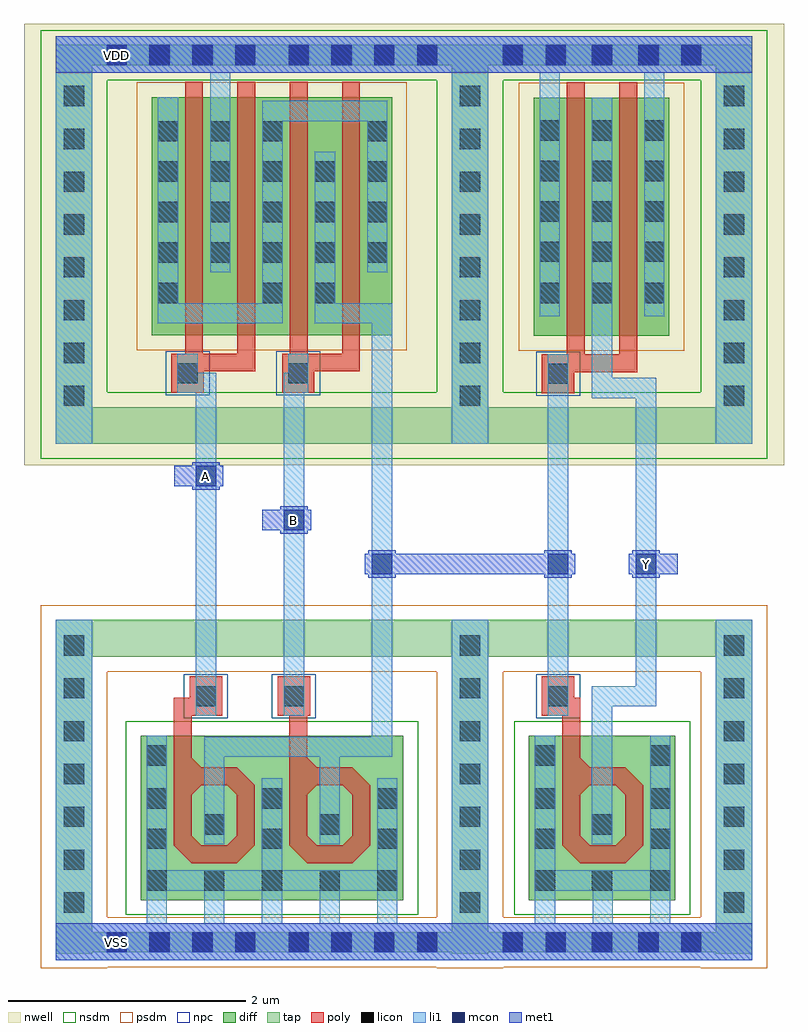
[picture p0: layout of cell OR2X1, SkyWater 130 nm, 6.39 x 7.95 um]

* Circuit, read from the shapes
.subckt OR2X1 A B VDD VSS Y
XM1 VSS A n1 VSS sky130_fd_pr__nfet_01v8 w=2.56 l=0.1455
XM2 VSS B n1 VSS sky130_fd_pr__nfet_01v8 w=2.56 l=0.1457
XM3 VSS n1 Y VSS sky130_fd_pr__nfet_01v8 w=2.56 l=0.1486
XM4 VDD A n2 VDD sky130_fd_pr__pfet_01v8 w=2 l=0.15 m=2
XM5 n1 B n2 VDD sky130_fd_pr__pfet_01v8 w=2 l=0.15 m=2
XM6 Y n1 VDD VDD sky130_fd_pr__pfet_01v8 w=2 l=0.15 m=2
.ends

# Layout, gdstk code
import gdstk
lib = gdstk.Library(unit=1e-6, precision=1e-09)
def R(c, l, rs):  # rectangles x0, y0, x1, y1
    for r in rs: c.add(gdstk.rectangle(r[:2], r[2:], *l))
def A(c, l, x, y, w, h, nx, ny, dx, dy):  # array of equal rectangles
    R(c, l, [(x+i*dx, y+j*dy, x+i*dx+w, y+j*dy+h) for i in range(nx) for j in range(ny)])
def P(c, l, *ps):  # polygons
    for p in ps: c.add(gdstk.Polygon(p, *l))
nwell = (64, 20)
diff = (65, 20)
tap = (65, 44)
poly = (66, 20)
licon = (66, 44)
li1 = (67, 20)
mcon = (67, 44)
met1 = (68, 20)
nsdm = (93, 44)
psdm = (94, 20)
npc = (95, 20)

or2x1 = lib.new_cell('OR2X1')
R(or2x1, nwell, [(-0.42,4.16,5.97,7.875)])
R(or2x1, diff, [(0.56,0.505,2.77,1.885), (3.825,0.505,5.055,1.885), (3.865,5.25,5.005,7.25), (0.655,5.255,2.675,7.255)])
R(or2x1, tap, [(-0.155,0.055,0.155,0.065), (3.175,0.055,3.485,0.065), (5.395,0.055,5.705,0.065), (-0.155,0.065,5.705,0.235), (-0.155,0.235,0.155,2.55), (3.175,0.235,3.485,2.55), (5.395,0.235,5.705,2.55), (-0.155,2.55,5.705,2.86), (-0.155,4.34,5.705,4.65), (-0.155,4.65,0.155,7.525), (3.175,4.65,3.485,7.525), (5.395,4.65,5.705,7.525), (-0.155,7.525,5.705,7.695)])
A(or2x1, poly, 0.935, 5.1, 0.15, 2.285, 4, 1, 0.44, 0)
R(or2x1, poly, [(0.99,0.815,1.37,0.965), (1.96,0.815,2.34,0.965), (4.255,0.815,4.635,0.965), (0.84,0.965,0.99,1.47), (1.37,0.965,1.52,1.47), (1.81,0.965,1.96,1.395), (2.34,0.965,2.49,1.395), (4.105,0.965,4.255,1.47), (4.635,0.965,4.785,1.47), (1.81,1.395,1.965,1.47), (2.335,1.395,2.49,1.47), (0.84,1.47,1.37,1.62), (1.81,1.47,2.34,1.62), (4.105,1.47,4.635,1.62), (0.84,1.62,0.99,2.055), (1.81,1.62,1.96,2.055), (4.105,1.62,4.255,2.055), (0.84,2.055,1.245,2.205), (1.715,2.055,1.985,2.385), (3.935,2.055,4.255,2.205), (0.975,2.205,1.245,2.385), (3.935,2.205,4.205,2.385), (3.935,4.765,4.205,4.945), (0.82,4.77,1.09,4.95), (1.75,4.77,2.02,4.95), (3.935,4.945,4.735,5.095), (0.82,4.95,1.525,5.1), (1.75,4.95,2.405,5.1), (4.145,5.095,4.295,7.38), (4.585,5.095,4.735,7.38)])
P(or2x1, poly, [(0.99,1.7),(0.99,1.62),(1.07,1.62)],
  [(1.96,1.7),(1.96,1.62),(2.04,1.62)],
  [(4.255,1.7),(4.255,1.62),(4.335,1.62)],
  [(1.37,1.62),(1.37,1.47),(1.52,1.47)],
  [(0.99,1.39),(0.99,1.47),(1.07,1.47)],
  [(1.29,1.47),(1.37,1.47),(1.37,1.39)],
  [(0.99,1.045),(0.99,0.965),(1.07,0.965)],
  [(1.29,0.965),(1.37,0.965),(1.37,1.045)],
  [(0.84,0.965),(0.99,0.965),(0.99,0.815)],
  [(1.37,0.815),(1.37,0.965),(1.52,0.965)],
  [(2.34,1.62),(2.34,1.47),(2.49,1.47)],
  [(1.965,1.395),(1.965,1.47),(2.04,1.47)],
  [(2.26,1.47),(2.335,1.47),(2.335,1.395)],
  [(1.96,1.045),(1.96,0.965),(2.04,0.965)],
  [(2.26,0.965),(2.34,0.965),(2.34,1.045)],
  [(1.81,0.965),(1.96,0.965),(1.96,0.815)],
  [(2.34,0.815),(2.34,0.965),(2.49,0.965)],
  [(4.635,1.62),(4.635,1.47),(4.785,1.47)],
  [(4.255,1.39),(4.255,1.47),(4.335,1.47)],
  [(4.555,1.47),(4.635,1.47),(4.635,1.39)],
  [(4.255,1.045),(4.255,0.965),(4.335,0.965)],
  [(4.555,0.965),(4.635,0.965),(4.635,1.045)],
  [(4.105,0.965),(4.255,0.965),(4.255,0.815)],
  [(4.635,0.815),(4.635,0.965),(4.785,0.965)])
A(or2x1, licon, 0.275, 0.065, 0.17, 0.17, 4, 2, 0.36, 7.46)
A(or2x1, licon, 1.805, 0.065, 0.17, 0.17, 4, 2, 0.36, 7.46)
A(or2x1, licon, 3.965, 0.065, 0.17, 0.17, 3, 2, 0.39, 7.46)
A(or2x1, licon, -0.085, 0.4, 0.17, 0.17, 1, 7, 0, 0.36)
A(or2x1, licon, 3.245, 0.4, 0.17, 0.17, 1, 7, 0, 0.36)
A(or2x1, licon, 5.465, 0.4, 0.17, 0.17, 1, 7, 0, 0.36)
A(or2x1, licon, 0.61, 0.585, 0.17, 0.17, 5, 1, 0.485, 0)
A(or2x1, licon, 0.61, 0.935, 0.17, 0.17, 3, 2, 0.97, 0.34)
A(or2x1, licon, -0.085, 4.66, 0.17, 0.17, 1, 8, 0, 0.36)
A(or2x1, licon, 3.245, 4.66, 0.17, 0.17, 1, 8, 0, 0.36)
A(or2x1, licon, 5.465, 4.66, 0.17, 0.17, 1, 8, 0, 0.36)
A(or2x1, licon, 3.915, 5.525, 0.17, 0.17, 3, 2, 0.44, 0.345)
A(or2x1, licon, 0.705, 5.865, 0.17, 0.17, 5, 3, 0.44, 0.34)
A(or2x1, licon, 3.915, 6.21, 0.17, 0.17, 3, 3, 0.44, 0.34)
A(or2x1, licon, 0.705, 6.885, 0.17, 0.17, 3, 1, 0.44, 0)
R(or2x1, licon, [(3.605,0.065,3.775,0.235), (5.105,0.065,5.275,0.235), (3.875,0.585,4.045,0.755), (4.355,0.585,4.525,0.755), (4.845,0.585,5.015,0.755), (3.875,0.935,4.045,1.105), (4.845,0.935,5.015,1.105), (1.095,1.055,1.265,1.225), (2.065,1.055,2.235,1.225), (4.355,1.055,4.525,1.225), (3.875,1.275,4.045,1.445), (4.845,1.275,5.015,1.445), (0.61,1.635,0.78,1.805), (3.875,1.635,4.045,1.805), (4.845,1.635,5.015,1.805), (1.025,2.135,1.195,2.305), (1.765,2.135,1.935,2.305), (3.985,2.135,4.155,2.305), (3.985,4.845,4.155,5.015), (0.87,4.85,1.04,5.02), (1.8,4.85,1.97,5.02), (0.705,5.525,0.875,5.695), (1.585,5.525,1.755,5.695), (2.025,5.525,2.195,5.695), (2.465,6.885,2.635,7.055), (3.605,7.525,3.775,7.695), (5.105,7.525,5.275,7.695)])
A(or2x1, li1, 0.61, 0.31, 0.17, 0.275, 5, 1, 0.485, 0)
A(or2x1, li1, 3.875, 0.31, 0.17, 0.275, 3, 1, 0.485, 0)
R(or2x1, li1, [(-0.155,0,5.705,0.31), (-0.155,0.31,0.155,2.86), (3.175,0.31,3.485,2.86), (5.395,0.31,5.705,2.86), (0.61,0.585,2.72,0.755), (3.875,0.585,5.015,0.755), (0.61,0.755,0.78,1.885), (1.58,0.755,1.75,1.53), (2.55,0.755,2.72,1.53), (3.875,0.755,4.045,1.885), (4.845,0.755,5.015,1.885), (1.095,0.975,1.265,1.71), (2.065,0.975,2.235,1.71), (4.355,0.975,4.525,2.135), (1.095,1.71,2.675,1.88), (2.505,1.88,2.675,5.355), (1.025,2.055,1.195,4.77), (1.765,2.055,1.935,4.77), (3.985,2.055,4.155,5.095), (4.355,2.135,4.895,2.305), (4.725,2.305,4.895,4.725), (-0.155,4.34,0.155,7.46), (3.175,4.34,3.485,7.46), (5.395,4.34,5.705,7.46), (4.355,4.725,4.895,4.895), (0.87,4.77,1.195,4.94), (1.765,4.77,1.97,4.94), (4.355,4.895,4.525,7.25), (0.87,4.94,1.04,5.1), (1.8,4.94,1.97,5.1), (0.705,5.355,1.755,5.525), (2.025,5.355,2.675,5.525), (3.915,5.415,4.085,7.46), (4.795,5.415,4.965,7.46), (0.705,5.525,0.875,7.255), (1.585,5.525,1.755,7.055), (2.025,5.525,2.195,6.795), (1.145,5.785,1.315,7.46), (2.465,5.785,2.635,7.055), (1.585,7.055,2.635,7.225), (-0.155,7.46,5.705,7.77)])
A(or2x1, mcon, 0.275, 0.065, 0.17, 0.17, 4, 2, 0.36, 7.46)
A(or2x1, mcon, 1.805, 0.065, 0.17, 0.17, 4, 2, 0.36, 7.46)
A(or2x1, mcon, 3.965, 0.065, 0.17, 0.17, 3, 2, 0.39, 7.46)
R(or2x1, mcon, [(3.605,0.065,3.775,0.235), (5.105,0.065,5.275,0.235), (2.505,3.245,2.675,3.415), (3.985,3.245,4.155,3.415), (4.725,3.245,4.895,3.415), (1.765,3.615,1.935,3.785), (1.025,3.985,1.195,4.155), (3.605,7.525,3.775,7.695), (5.105,7.525,5.275,7.695)])
R(or2x1, met1, [(-0.155,0,5.705,0.31), (2.475,3.215,2.705,3.245), (3.955,3.215,4.185,3.245), (4.695,3.215,4.925,3.245), (2.445,3.245,4.215,3.415), (4.665,3.245,5.075,3.415), (2.475,3.415,2.705,3.445), (3.955,3.415,4.185,3.445), (4.695,3.415,4.925,3.445), (1.735,3.585,1.965,3.615), (1.585,3.615,1.995,3.785), (1.735,3.785,1.965,3.815), (0.995,3.955,1.225,3.985), (0.845,3.985,1.255,4.155), (0.995,4.155,1.225,4.185), (-0.155,7.46,5.705,7.77)])
R(or2x1, nsdm, [(0.435,0.38,2.895,2.01), (3.7,0.38,5.18,2.01), (-0.28,4.215,5.83,4.775), (-0.28,4.775,0.28,7.4), (3.05,4.775,3.61,7.4), (5.27,4.775,5.83,7.4), (-0.28,7.4,5.83,7.82)])
R(or2x1, psdm, [(-0.28,-0.07,0.28,-0.06), (3.05,-0.07,3.61,-0.06), (5.27,-0.07,5.83,-0.06), (-0.28,-0.06,5.83,0.36), (-0.28,0.36,0.28,2.425), (3.05,0.36,3.61,2.425), (5.27,0.36,5.83,2.425), (-0.28,2.425,5.83,2.985), (3.74,5.125,5.13,7.375), (0.53,5.13,2.8,7.38)])
R(or2x1, npc, [(0.925,2.035,1.295,2.405), (1.665,2.035,2.035,2.405), (3.885,2.035,4.255,2.405), (3.885,4.745,4.255,5.115), (0.77,4.75,1.14,5.12), (1.7,4.75,2.07,5.12)])
or2x1.add(gdstk.Label('Y', (4.81,3.33), layer=68, texttype=16))
or2x1.add(gdstk.Label('A', (1.11,4.07), layer=68, texttype=16))
or2x1.add(gdstk.Label('B', (1.85,3.7), layer=68, texttype=16))
or2x1.add(gdstk.Label('VDD', (0.36,7.61), layer=68, texttype=16))
or2x1.add(gdstk.Label('VSS', (0.36,0.15), layer=68, texttype=16))

lib.write_gds('OR2X1.gds')
